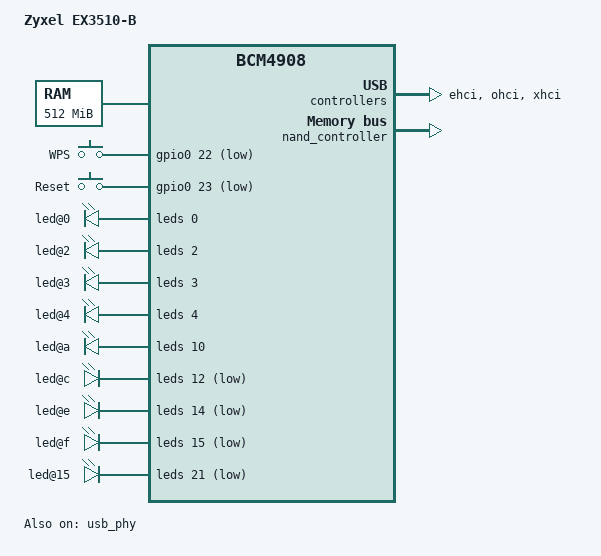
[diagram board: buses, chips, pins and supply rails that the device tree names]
// SPDX-License-Identifier: GPL-2.0-or-later OR MIT

#include <dt-bindings/gpio/gpio.h>
#include <dt-bindings/input/input.h>
#include <dt-bindings/leds/common.h>

#include "bcm4906.dtsi"

/ {
	compatible = "zyxel,ex3510b", "brcm,bcm4906", "brcm,bcm4908", "brcm,bcmbca";
	model = "Zyxel EX3510-B";

	memory@0 {
		device_type = "memory";
		reg = <0x0 0x0 0x0 0x20000000>;
	};

	gpio-keys-polled {
		compatible = "gpio-keys-polled";
		poll-interval = <100>;

		key-wps {
			label = "WPS";
			linux,code = <KEY_WPS_BUTTON>;
			gpios = <&gpio0 22 GPIO_ACTIVE_LOW>;
		};

		key-reset {
			label = "Reset";
			linux,code = <KEY_RESTART>;
			gpios = <&gpio0 23 GPIO_ACTIVE_LOW>;
		};
	};
};

&leds {
	pinctrl-0 = <&pins_led_0_a>, <&pins_led_2_a>, <&pins_led_3_a>,
		    <&pins_led_4_a>, <&pins_led_10_a>, <&pins_led_12_a>,
		    <&pins_led_14_a>, <&pins_led_15_a>, <&pins_led_21_a>;
	pinctrl-names = "default";

	led@0 {
		reg = <0x0>;
		function = LED_FUNCTION_POWER;
		color = <LED_COLOR_ID_RED>;
	};

	led@2 {
		reg = <0x2>;
		function = LED_FUNCTION_WAN_ONLINE;
		color = <LED_COLOR_ID_GREEN>;
	};

	led@3 {
		reg = <0x3>;
		function = LED_FUNCTION_WAN_ONLINE;
		color = <LED_COLOR_ID_RED>;
	};

	led@4 {
		reg = <0x4>;
		function = LED_FUNCTION_USB;
		color = <LED_COLOR_ID_GREEN>;
		trigger-sources = <&ohci_port1>, <&ohci_port2>,
				  <&ehci_port1>, <&ehci_port2>,
				  <&xhci_port1>, <&xhci_port2>;
		linux,default-trigger = "usbport";
	};

	led@a {
		reg = <0xa>;
		function = LED_FUNCTION_POWER;
		color = <LED_COLOR_ID_GREEN>;
		linux,default-trigger = "default-on";
	};

	led@c {
		reg = <0xc>;
		function = LED_FUNCTION_LAN;
		color = <LED_COLOR_ID_GREEN>;
		active-low;
	};

	led@e {
		reg = <0xe>;
		function = LED_FUNCTION_WPS;
		color = <LED_COLOR_ID_GREEN>;
		active-low;
	};

	led@f {
		reg = <0xf>;
		function = LED_FUNCTION_WPS;
		color = <LED_COLOR_ID_RED>;
		active-low;
	};

	led@15 {
		reg = <0x15>;
		function = LED_FUNCTION_WAN;
		color = <LED_COLOR_ID_GREEN>;
		active-low;
	};
};

&enet {
	nvmem-cells = <&base_mac_addr>;
	nvmem-cell-names = "mac-address";
};

&usb_phy {
	brcm,ioc = <1>;
	brcm,ipp = <1>;
	status = "okay";
};

&ehci {
	status = "okay";
};

&ohci {
	status = "okay";
};

&xhci {
	status = "okay";
};

&ports {
	port@0 {
		label = "lan1";
	};

	port@1 {
		label = "lan2";
	};

	port@2 {
		label = "lan3";
	};

	port@3 {
		label = "lan4";
	};

	port@7 {
		reg = <7>;
		phy-mode = "internal";
		phy-handle = <&phy12>;
		label = "wan";
	};
};

&nand_controller {
	status = "okay";
};

&nandcs {
	brcm,nand-oob-sector-size = <27>;
	nand-ecc-strength = <8>;
	nand-ecc-step-size = <512>;
	nand-on-flash-bbt;

	#address-cells = <1>;
	#size-cells = <0>;

	partitions {
		compatible = "brcm,bcm4908-partitions";
		#address-cells = <1>;
		#size-cells = <1>;

		partition@0 {
			compatible = "nvmem-cells";
			label = "cferom";
			reg = <0x0 0x100000>;
			read-only;

			#address-cells = <1>;
			#size-cells = <1>;

			base_mac_addr: mac@106a0 {
				reg = <0x106a0 0x6>;
			};
		};

		partition@100000 {
			compatible = "brcm,bcm4908-firmware";
			reg = <0x100000 0x5f80000>;
		};

		partition@6080000 {
			compatible = "brcm,bcm4908-firmware";
			reg = <0x6080000 0x5f80000>;
		};
	};
};
